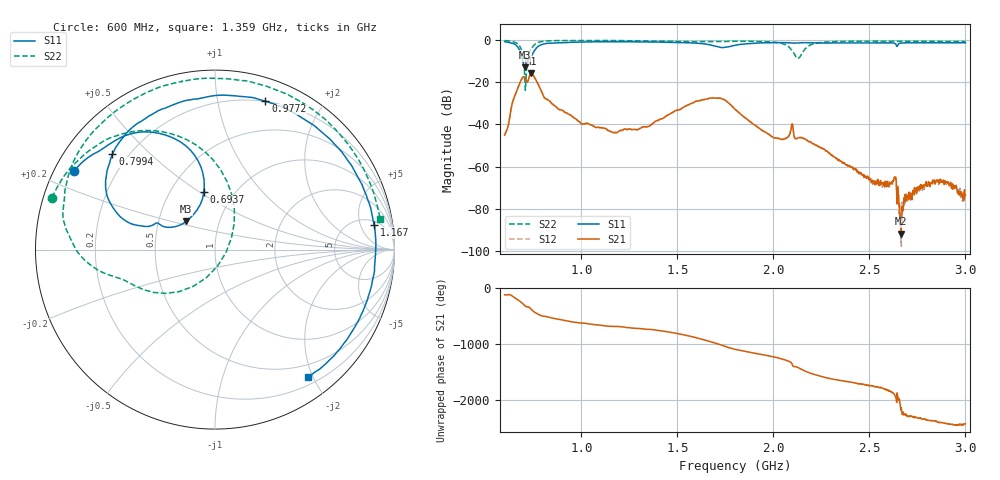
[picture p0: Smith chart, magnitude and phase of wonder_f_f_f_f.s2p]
#  HZ  S  RI  R  50.00
! Rohde & Schwarz ZVB8 2Ports - Version 2.81 - 1145.1010k08 SN: 100113
! Date: 2016-05-12 03:17:30
! Measurements: S11 S21 S12 S22
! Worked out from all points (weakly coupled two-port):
!   1000 points, 600 MHz to 3 GHz, reference 50 ohm
!   highest |S21| = -15.89 dB at 736.9 MHz (marker M1); lowest = -91.6 dB at 2.664 GHz (marker M2)
!   lowest |S11| = -13.0 dB at 708.1 MHz (marker M3), VSWR 1.58, Z = 34.7 + j11.4 ohm
!   |S11| at or under -10 dB: 694.3 MHz to 719.8 MHz (25.51 MHz wide, 3.61 % of centre)
!   |S22| runs from -23.9 to -0.4 dB; largest |S21 - S12| = 0.0034
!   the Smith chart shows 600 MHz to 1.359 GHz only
!   S11 on the Smith chart (normalised r, x): 600 MHz: 0.06, +0.26; 693.7 MHz: 0.73, +0.52; 799.4 MHz: 0.14, +0.39; 977.2 MHz: 0.20, +1.38; 1.167 GHz: 6, +9; 1.359 GHz: 0.31, -1.93
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6e8  -0.7868 0.438  -0.0023 -0.00507  -0.00237 -0.005  -0.9081 0.2889
6.672673e8  -0.2526 0.63  -0.0647 0.0234  -0.0647 0.0231  -0.4567 0.6577
6.936937e8  -0.0623 0.3191  0.0016 0.127  0.000605 0.1268  0.0318 0.444
7.081081e8  -0.1597 0.1567  0.0887 0.0834  0.0885 0.0836  0.0618 -0.0147
7.369369e8  -0.3715 0.1288  0.159 -0.0216  0.1586 -0.023  -0.5588 -0.1514
7.993994e8  -0.572 0.5305  -0.0358 -0.0352  -0.0358 -0.0352  -0.8262 0.3753
9.771772e8  0.2809 0.8273  -0.00377 0.0121  -0.0037 0.0121  -0.2068 0.9324
1.001201e9  0.3894 0.7888  -0.00184 0.01  -0.00186 0.01  -0.1175 0.949
1.166967e9  0.887 0.1382  0.00487 0.00413  0.00476 0.00412  0.5226 0.7952
1.359159e9  0.5192 -0.7109  0.00916 -0.00212  0.0092 -0.00212  0.9195 0.1692
1.4e9  0.3456 -0.8045  0.0106 -0.00639  0.0107 -0.0065  0.9293 0.00936
1.673874e9  -0.6312 -0.3921  -0.0256 0.0331  -0.0255 0.0331  0.4651 -0.7668
1.801201e9  -0.7103 -0.1977  0.0222 -0.00317  0.0223 -0.00322  0.0772 -0.9137
2.031832e9  -0.5844 0.6167  -0.00447 -0.00085  -0.00453 -0.000925  -0.6171 -0.5629
2.106306e9  -0.3321 0.7556  0.00418 0.0039  0.00418 0.00395  -0.4442 -0.1954
2.2e9  0.0213 0.8452  0.000367 -0.00359  0.000333 -0.00364  -0.4579 -0.6218
2.423423e9  0.7546 0.3719  -0.000319 0.000837  -0.000369 0.00087  -0.9094 -0.1225
2.601201e9  0.7482 -0.3883  0.000351 -0.000154  0.000392 -0.000152  -0.8693 0.2987
2.63003e9  0.652 -0.5046  -2.48e-05 -0.000572  -3.19e-06 -0.00048  -0.8481 0.3599
2.663664e9  0.625 -0.5489  2.58e-05 -4.57e-06  1.23e-05 -2.26e-05  -0.8132 0.4273
2.846246e9  -0.0452 -0.8402  -0.000335 0.000285  -0.00038 0.000267  -0.5301 0.7451
3e9  -0.5535 -0.6392  -4.63e-05 0.000207  7.86e-05 0.00019  -0.1818 0.8843
